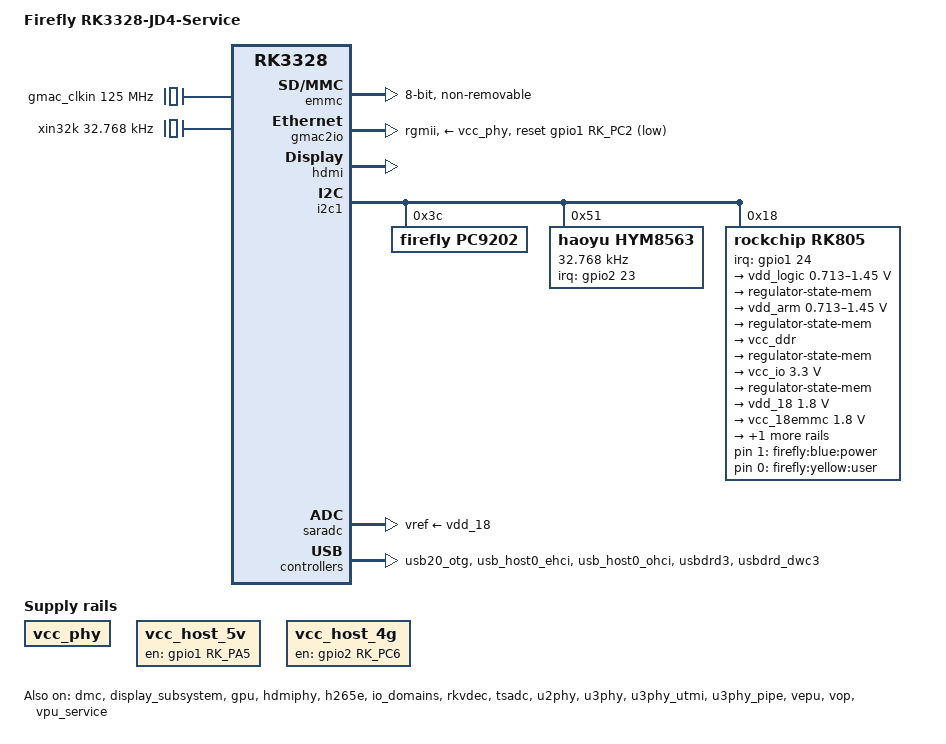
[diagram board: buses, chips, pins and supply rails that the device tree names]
/dts-v1/;
#include "rk3328.dtsi"
#include <dt-bindings/input/input.h>
#include <dt-bindings/sensor-dev.h>
/ {
	model = "Firefly RK3328-JD4-Service";
	compatible = "rockchip,rk3328-core-jd4", "rockchip,rk3328";

	chosen {
		bootargs = "rockchip_jtag earlyprintk=uart8250-32bit,0xff130000 swiotlb=1 kpti=0 console=ttyFIQ0 rw root=PARTUUID=614e0000-0000 rootfstype=ext4 rootwait systemd.gpt_auto=0";
		stdout-path = "serial2:1500000n8";
	};

	fiq-debugger {
		compatible = "rockchip,fiq-debugger";
		rockchip,serial-id = <2>;
		rockchip,signal-irq = <159>;
		rockchip,wake-irq = <0>;
		/* If enable uart uses irq instead of fiq */
		rockchip,irq-mode-enable = <0>;
		rockchip,baudrate = <1500000>;  /* Only 115200 and 1500000 */
		interrupts = <GIC_SPI 127 IRQ_TYPE_LEVEL_LOW>;
		status = "okay";
	};

	adc-keys {
		compatible = "adc-keys";
		io-channels = <&saradc 0>;
		io-channel-names = "buttons";
		poll-interval = <100>;
		keyup-threshold-microvolt = <1800000>;
	};

	gmac_clkin: external-gmac-clock {
		compatible = "fixed-clock";
		clock-frequency = <125000000>;
		clock-output-names = "gmac_clkin";
		#clock-cells = <0>;
	};

	vcc_phy: vcc-phy-regulator {
		compatible = "regulator-fixed";
		regulator-name = "vcc_phy";
		regulator-always-on;
		regulator-boot-on;
	};

	xin32k: xin32k {
		compatible = "fixed-clock";
		clock-frequency = <32768>;
		clock-output-names = "xin32k";
		#clock-cells = <0>;
	};
	
	vcc_host_5v: vcc-host-5v-regulator {
		compatible = "regulator-fixed";
		enable-active-high;
		gpio = <&gpio1 RK_PA5 GPIO_ACTIVE_HIGH>;
		pinctrl-names = "default";
		pinctrl-0 = <&usb_host_drv>;
		regulator-name = "vcc_host_5v";
		regulator-always-on;
	};
	
	vcc_host_4g: vcc-host-4g-regulator {
		compatible = "regulator-fixed";
		enable-active-high;
		gpio = <&gpio2 RK_PC6 GPIO_ACTIVE_HIGH>;
		pinctrl-names = "default";
		pinctrl-0 = <&usb_host_4g>;
		regulator-name = "vcc_host_4g";
		regulator-always-on;
	};

    leds {
        compatible = "gpio-leds";

        power {
            label = "firefly:blue:power";
            linux,default-trigger = "ir-power-click";
            gpios = <&rk805 1 GPIO_ACTIVE_HIGH>;
            default-state = "on";
            mode = <0x23>;
        };

        user {
            label = "firefly:yellow:user";
            linux,default-trigger = "ir-user-click";
            gpios = <&rk805 0 GPIO_ACTIVE_HIGH>;
            default-state = "on";
            mode = <0x05>;
        };
    };
};

&cpu0 {
	cpu-supply = <&vdd_arm>;
};

&dmc {
	center-supply = <&vdd_logic>;
	status = "okay";
};

&display_subsystem {
	status = "okay";
};

&emmc {
	bus-width = <8>;
	cap-mmc-highspeed;
	mmc-hs200-1_8v;
	supports-emmc;
	disable-wp;
	non-removable;
	num-slots = <1>;
	pinctrl-names = "default";
	pinctrl-0 = <&emmc_clk &emmc_cmd &emmc_bus8>;
	status = "okay";
};

&gmac2io {
	phy-supply = <&vcc_phy>;
	phy-mode = "rgmii";
	clock_in_out = "input";
	snps,reset-gpio = <&gpio1 RK_PC2 GPIO_ACTIVE_LOW>;
	snps,reset-active-low;
	snps,force_thresh_dma_mode;
	snps,reset-delays-us = <0 10000 50000>;
	assigned-clocks = <&cru SCLK_MAC2IO>, <&cru SCLK_MAC2IO_EXT>;
	assigned-clock-parents = <&gmac_clkin>, <&gmac_clkin>;
	pinctrl-names = "default";
	pinctrl-0 = <&rgmiim1_pins>;
	tx_delay = <0x26>;
	rx_delay = <0x16>;
	status = "okay";
};

&gpu {
    mali-supply = <&vdd_logic>;
	status = "okay";
};

&hdmi {
	#sound-dai-cells = <0>;
	ddc-i2c-scl-high-time-ns = <9625>;
	ddc-i2c-scl-low-time-ns = <10000>;
	status = "okay";
};

&hdmiphy {
	status = "okay";
};

&i2c1 {
	status = "okay";

    pc9202: pc9202@3c {
        status = "okay";
        compatible = "firefly,pc9202";
        reg = <0x3c>;
    };

	hym8563: hym8563@51 {
        compatible = "haoyu,hym8563";
        reg = <0x51>;
        interrupt-parent = <&gpio2>;
        interrupts = <23 IRQ_TYPE_EDGE_FALLING>;
        #clock-cells = <0>;
        clock-frequency = <32768>;
        clock-output-names = "xin32k";
        pinctrl-names = "default";
        pinctrl-0 = <&rtc_8563>;
		status = "okay";
    };

	rk805: rk805@18 {
		compatible = "rockchip,rk805";
		status = "okay";
		reg = <0x18>;
		interrupt-parent = <&gpio1>;
		interrupts = <24 IRQ_TYPE_LEVEL_LOW>;
		pinctrl-names = "default";
		pinctrl-0 = <&pmic_int_l>;
		rockchip,system-power-controller;
		wakeup-source;
		gpio-controller;
		#gpio-cells = <2>;
		#clock-cells = <1>;
		clock-output-names = "rk805-clkout1", "rk805-clkout2";

		rtc {
			status = "disabled";
		};

		pwrkey {
			status = "disabled";
		};

		gpio {
			status = "okay";
		};

		regulators {
			compatible = "rk805-regulator";
			status = "okay";
			#address-cells = <1>;
			#size-cells = <0>;

			vdd_logic: RK805_DCDC1 {
				regulator-compatible = "RK805_DCDC1";
				regulator-name = "vdd_logic";
				regulator-min-microvolt = <712500>;
				regulator-max-microvolt = <1450000>;
				regulator-initial-mode = <0x1>;
				regulator-ramp-delay = <12500>;
				regulator-boot-on;
				regulator-always-on;
				regulator-state-mem {
					regulator-mode = <0x2>;
					regulator-on-in-suspend;
					regulator-suspend-microvolt = <1000000>;
				};
			};

			vdd_arm: RK805_DCDC2 {
				regulator-compatible = "RK805_DCDC2";
				regulator-name = "vdd_arm";
				regulator-min-microvolt = <712500>;
				regulator-max-microvolt = <1450000>;
				regulator-initial-mode = <0x1>;
				regulator-ramp-delay = <12500>;
				regulator-boot-on;
				regulator-always-on;
				regulator-state-mem {
					regulator-mode = <0x2>;
					regulator-on-in-suspend;
					regulator-suspend-microvolt = <950000>;
				};
			};

			vcc_ddr: RK805_DCDC3 {
				regulator-compatible = "RK805_DCDC3";
				regulator-name = "vcc_ddr";
				regulator-initial-mode = <0x1>;
				regulator-boot-on;
				regulator-always-on;
				regulator-state-mem {
					regulator-mode = <0x2>;
					regulator-on-in-suspend;
				};
			};

			vcc_io: RK805_DCDC4 {
				regulator-compatible = "RK805_DCDC4";
				regulator-name = "vcc_io";
				regulator-min-microvolt = <3300000>;
				regulator-max-microvolt = <3300000>;
				regulator-initial-mode = <0x1>;
				regulator-boot-on;
				regulator-always-on;
				regulator-state-mem {
					regulator-mode = <0x2>;
					regulator-on-in-suspend;
					regulator-suspend-microvolt = <3300000>;
				};
			};

			vdd_18: RK805_LDO1 {
				regulator-compatible = "RK805_LDO1";
				regulator-name = "vdd_18";
				regulator-min-microvolt = <1800000>;
				regulator-max-microvolt = <1800000>;
				regulator-boot-on;
				regulator-always-on;
				regulator-state-mem {
					regulator-on-in-suspend;
					regulator-suspend-microvolt = <1800000>;
				};
			};

			vcc_18emmc: RK805_LDO2 {
				regulator-compatible = "RK805_LDO2";
				regulator-name = "vcc_18emmc";
				regulator-min-microvolt = <1800000>;
				regulator-max-microvolt = <1800000>;
				regulator-boot-on;
				regulator-always-on;
				regulator-state-mem {
					regulator-on-in-suspend;
					regulator-suspend-microvolt = <1800000>;
				};
			};

			vdd_11: RK805_LDO3 {
				regulator-compatible = "RK805_LDO3";
				regulator-name = "vdd_11";
				regulator-min-microvolt = <1100000>;
				regulator-max-microvolt = <1100000>;
				regulator-boot-on;
				regulator-always-on;
				regulator-state-mem {
					regulator-on-in-suspend;
					regulator-suspend-microvolt = <1100000>;
				};
			};
		};
	};
};

&h265e {
	status = "okay";
};

&io_domains {
	status = "okay";

	vccio1-supply = <&vcc_io>;
	vccio2-supply = <&vcc_18emmc>;
	vccio3-supply = <&vcc_io>;
	vccio4-supply = <&vdd_18>;
	vccio5-supply = <&vcc_io>;
	vccio6-supply = <&vcc_io>;
	pmuio-supply = <&vcc_io>;
};

&pinctrl {
	pmic {
		pmic_int_l: pmic-int-l {
			rockchip,pins =
				<1 RK_PD0 RK_FUNC_GPIO &pcfg_pull_up>;
		};
	};

	usb {
		usb_host_drv: usb-host-drv {
			rockchip,pins =
				<1 RK_PA5 RK_FUNC_GPIO &pcfg_pull_none>;
		};

		usb_host_4g: usb-host-4g {
			rockchip,pins =
				<2 RK_PC6 RK_FUNC_GPIO &pcfg_pull_up>;
		};
	};

    hym8563 {
        rtc_8563: rtc-8563 {
            rockchip,pins = 
                <2 RK_PC7 RK_FUNC_GPIO &pcfg_pull_none>;
		};
    };
};

&rkvdec {
	vcodec-supply = <&vdd_logic>;
	status = "okay";
};

&rockchip_suspend {
	status = "okay";
	rockchip,virtual-poweroff = <1>;
};

&saradc {
	status = "okay";
	vref-supply = <&vdd_18>;
};

&tsadc {
	status = "okay";
};

&u2phy {
	status = "okay";

	u2phy_host: host-port {
		status = "okay";
	};

	u2phy_otg: otg-port {
		status = "okay";
	};
};

&u3phy {
	status = "okay";
};

&u3phy_utmi {
	status = "okay";
};

&u3phy_pipe {
	status = "okay";
};

&usb20_otg {
	status = "okay";
};

&usb_host0_ehci {
	status = "okay";
};

&usb_host0_ohci {
	status = "okay";
};

&usbdrd3 {
	status = "okay";
};

&usbdrd_dwc3 {
	status = "okay";
};

&vepu {
	status = "okay";
};

&vop {
	status = "okay";
};

&vop_mmu {
	status = "okay";
};

&vpu_service {
	status = "okay";
};
